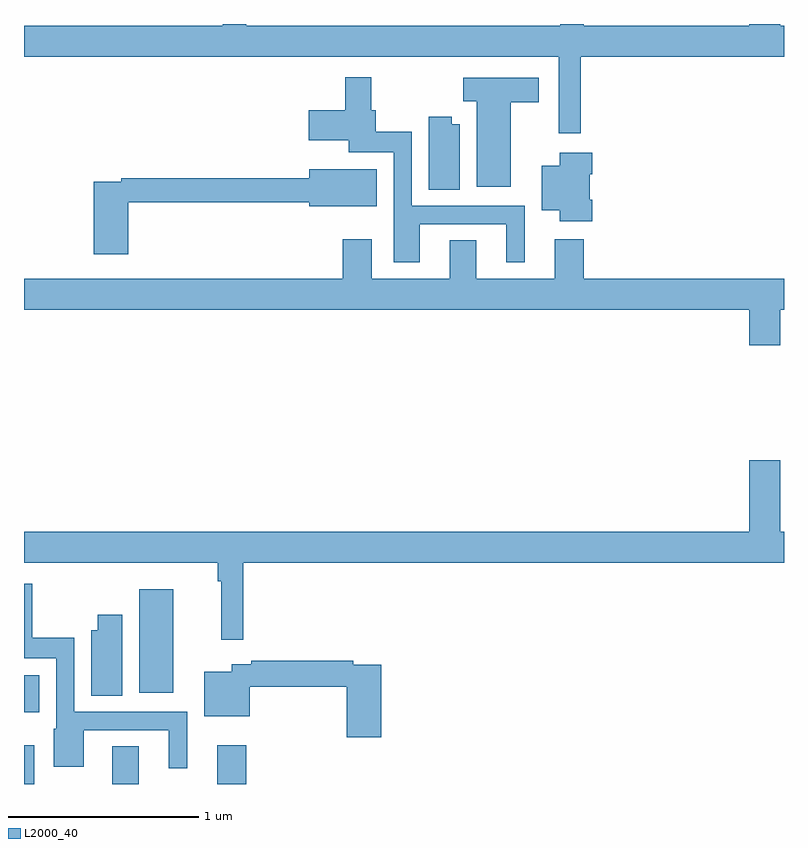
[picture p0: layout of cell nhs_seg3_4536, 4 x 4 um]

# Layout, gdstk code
import gdstk
lib = gdstk.Library(unit=1e-6, precision=1e-09)
def R(c, l, rs):  # rectangles x0, y0, x1, y1
    for r in rs: c.add(gdstk.rectangle(r[:2], r[2:], *l))
def P(c, l, *ps):  # polygons
    for p in ps: c.add(gdstk.Polygon(p, *l))
L2000_40 = (2000, 40)

nhs_seg3_4536 = lib.new_cell('nhs_seg3_4536')
R(nhs_seg3_4536, L2000_40, [(353,718.4,353.053,718.603), (353.465,718.4,353.605,718.598), (354.017,718.4,354.17,718.603), (353,718.778,353.08,718.972), (353.606,718.88,353.785,719.425)])
P(nhs_seg3_4536, L2000_40, [(355.931,722.228),(357,722.228),(357,722.392),(356.98,722.392),(356.98,722.4),(356.816,722.4),(356.816,722.392),(355.945,722.392),(355.945,722.4),(355.823,722.4),(355.823,722.392),(354.169,722.392),(354.169,722.4),(354.047,722.4),(354.047,722.392),(353,722.392),(353,722.228),(355.815,722.228),(355.815,721.824),(355.931,721.824)],
  [(355.084,721.347),(355.538,721.347),(355.538,721.146),(355.636,721.146),(355.636,721.443),(355.041,721.443),(355.041,721.834),(354.85,721.834),(354.85,721.945),(354.827,721.945),(354.827,722.119),(354.691,722.119),(354.691,721.945),(354.498,721.945),(354.498,721.787),(354.71,721.787),(354.71,721.725),(354.945,721.725),(354.945,721.146),(355.084,721.146)],
  [(355.561,721.987),(355.708,721.987),(355.708,722.116),(355.311,722.116),(355.311,721.994),(355.382,721.994),(355.382,721.544),(355.561,721.544)],
  [(355.294,721.873),(355.252,721.873),(355.252,721.912),(355.13,721.912),(355.13,721.528),(355.294,721.528)],
  [(355.991,721.474),(355.978,721.474),(355.978,721.61),(355.991,721.61),(355.991,721.723),(355.82,721.723),(355.82,721.654),(355.724,721.654),(355.724,721.421),(355.82,721.421),(355.82,721.362),(355.991,721.362)],
  [(353.549,721.461),(354.5,721.461),(354.5,721.442),(354.856,721.442),(354.856,721.636),(354.5,721.636),(354.5,721.589),(353.512,721.589),(353.512,721.569),(353.366,721.569),(353.366,721.188),(353.549,721.188)],
  [(356.98,720.896),(357,720.896),(357,721.06),(355.946,721.06),(355.946,721.267),(355.793,721.267),(355.793,721.06),(355.381,721.06),(355.381,721.262),(355.241,721.262),(355.241,721.06),(354.829,721.06),(354.829,721.267),(354.677,721.267),(354.677,721.06),(353,721.06),(353,720.896),(356.816,720.896),(356.816,720.708),(356.98,720.708)],
  [(354.155,719.564),(357,719.564),(357,719.728),(356.98,719.728),(356.98,720.103),(356.816,720.103),(356.816,719.728),(353,719.728),(353,719.564),(354.019,719.564),(354.019,719.468),(354.037,719.468),(354.037,719.16),(354.155,719.16)],
  [(353.86,718.779),(353.265,718.779),(353.265,719.17),(353.044,719.17),(353.044,719.455),(353,719.455),(353,719.061),(353.169,719.061),(353.169,718.692),(353.156,718.692),(353.156,718.49),(353.314,718.49),(353.314,718.683),(353.762,718.683),(353.762,718.482),(353.86,718.482)],
  [(353.518,719.29),(353.389,719.29),(353.389,719.209),(353.354,719.209),(353.354,718.864),(353.518,718.864)],
  [(354.881,719.028),(354.734,719.028),(354.734,719.048),(354.196,719.048),(354.196,719.029),(354.093,719.029),(354.093,718.99),(353.948,718.99),(353.948,718.757),(354.189,718.757),(354.189,718.912),(354.698,718.912),(354.698,718.647),(354.881,718.647)])

lib.write_gds('nhs_seg3_4536.gds')
